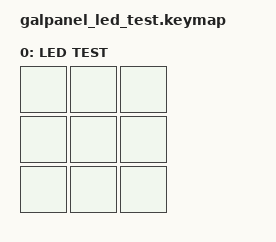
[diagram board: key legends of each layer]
/*
 * GALPANEL LED test keymap.
 * All user inputs are disabled; only the GPIO hogs in the overlay are tested.
 *
 * Copyright (c) 2026 GALPANEL contributors
 * SPDX-License-Identifier: MIT
 */

#include <behaviors.dtsi>

/ {
    keymap {
        compatible = "zmk,keymap";

        led_test_layer {
            display-name = "LED TEST";
            bindings = <
                &none &none &none
                &none &none &none
                &none &none &none
            >;
        };
    };
};
